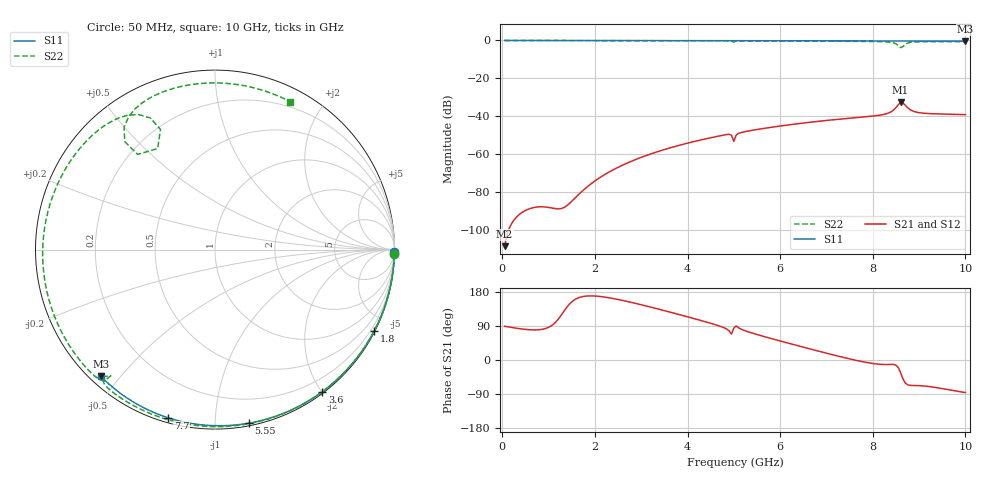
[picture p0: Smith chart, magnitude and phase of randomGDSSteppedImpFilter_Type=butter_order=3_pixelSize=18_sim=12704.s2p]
! freq	dB(S11)	phase(S11)	dB(S12)	phase(S12)
!  dB(S21)	phase(S21)	dB(S22)	phase(S22)
!S-par simulation data
#  GHz  S  DB  R 50
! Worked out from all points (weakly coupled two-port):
!   200 points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, 50 MHz to 10 GHz, reference 50 ohm
!   highest |S21| = -32.66 dB at 8.6 GHz (marker M1); lowest = -108.3 dB at 50 MHz (marker M2)
!   lowest |S11| = -0.4 dB at 10 GHz (marker M3), VSWR 39.04, Z = 1.53 - j22.3 ohm
!   |S11| at or under -10 dB: nowhere
!   |S22| runs from -3.8 to 0.0 dB; largest |S21 - S12| = 0
!   S11 on the Smith chart (normalised r, x): 50 MHz: open; 1.8 GHz: 0.04, -4.16; 3.6 GHz: 0.02, -2.01; 5.55 GHz: 0.02, -1.21; 7.7 GHz: 0.02, -0.76; 10 GHz: 0.03, -0.45
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0.05  -0.00 -0.8  -108.31 89.0  -108.31 89.0  -0.00 -1.4
0.85  -0.02 -12.9  -87.57 80.8  -87.57 80.8  -0.03 -23.5
1.65  -0.03 -24.8  -81.07 164.4  -81.07 164.4  -0.06 -45.2
1.75  -0.03 -26.3  -78.80 167.6  -78.80 167.6  -0.06 -47.9
1.8  -0.03 -27.1  -77.75 168.5  -77.75 168.5  -0.06 -49.2
2.45  -0.05 -36.6  -67.40 160.9  -67.40 160.9  -0.08 -66.3
3.4  -0.07 -50.1  -58.18 133.5  -58.18 133.5  -0.12 -90.6
3.6  -0.07 -52.9  -56.70 127.1  -56.70 127.1  -0.13 -95.7
4.85  -0.10 -69.9  -49.51 81.4  -49.51 81.4  -0.22 -127.9
4.95  -0.11 -71.2  -49.95 68.3  -49.95 68.3  -0.46 -131.6
5  -0.11 -71.9  -53.13 84.1  -53.13 84.1  -0.80 -129.6
5.05  -0.11 -72.5  -49.85 90.0  -49.85 90.0  -0.37 -130.2
5.55  -0.13 -79.0  -46.68 65.5  -46.68 65.5  -0.24 -144.5
6.7  -0.18 -93.4  -42.91 27.4  -42.91 27.4  -0.34 -175.9
7.7  -0.24 -105.5  -40.52 -2.5  -40.52 -2.5  -0.47 152.5
8.35  -0.29 -113.1  -38.10 -11.7  -38.10 -11.7  -0.85 125.6
8.5  -0.30 -114.8  -35.37 -13.7  -35.37 -13.7  -1.75 116.2
8.6  -0.31 -116.0  -32.66 -33.1  -32.66 -33.1  -3.78 119.6
8.7  -0.32 -117.1  -34.07 -60.4  -34.07 -60.4  -2.11 129.9
8.8  -0.32 -118.3  -36.32 -66.8  -36.32 -66.8  -1.07 122.9
9.3  -0.37 -124.0  -38.59 -71.5  -38.59 -71.5  -0.64 96.3
10  -0.45 -132.0  -39.06 -86.0  -39.06 -86.0  -0.68 63.1
